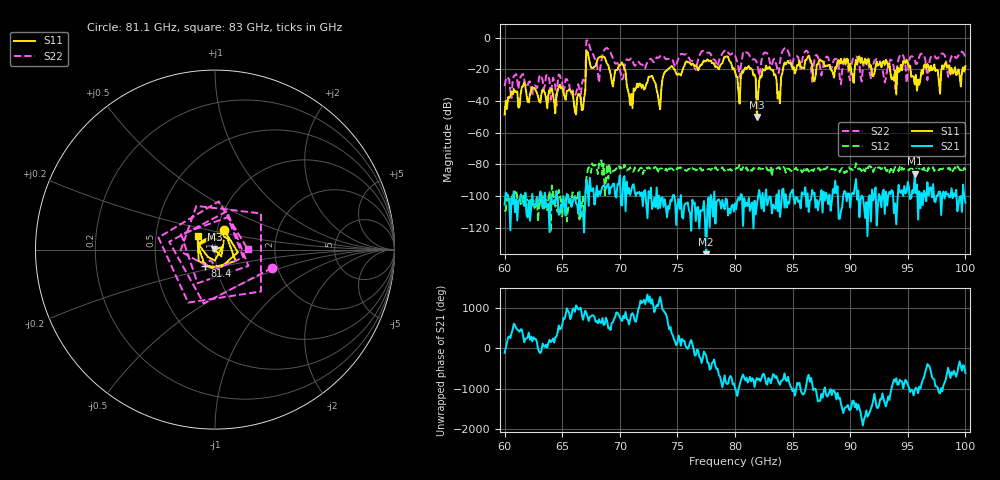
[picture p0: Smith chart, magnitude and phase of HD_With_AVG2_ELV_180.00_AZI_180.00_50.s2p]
! 11/25/2026 10:35:23 AM
! C:\ANRITSUVNA\TEMP\TEMP.S2P
! CHANNEL.1
! TR.MEASUREMENT
! RAW.DATA
# HZ S RI R 50.0
! FREQ.HZ  S11RE  S11IM  S21RE  S21IM  S12RE  S12IM  S22RE  S22IM
!; PortSelection: Port_12
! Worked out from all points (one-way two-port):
!   401 points, 60 GHz to 100 GHz, reference 50 ohm
!   highest |S21| = -85.96 dB at 95.6 GHz (marker M1); lowest = -140.0 dB at 77.5 GHz (marker M2)
!   lowest |S11| = -50.0 dB at 81.9 GHz (marker M3), VSWR 1.01, Z = 49.7 + j0.0957 ohm
!   |S11| at or under -10 dB: start of sweep to 67.09 GHz; 67.24 GHz to end of sweep
!   |S22| runs from -42.9 to -1.7 dB; largest |S21 - S12| = 0.00014
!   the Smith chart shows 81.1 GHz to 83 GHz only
!   S11 on the Smith chart (normalised r, x): 81.1 GHz: 1.08, +0.24; 81.4 GHz: 0.88, -0.17; 83 GHz: 0.81, +0.12
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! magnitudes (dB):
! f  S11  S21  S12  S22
! 60 GHz  -48.6  -105.4  -109.7  -30.5
! 61.6 GHz  -30.6  -104.1  -102.9  -22.8
! 66.7 GHz  -45.7  -112.8  -104.9  -29.5
! 67.3 GHz  -12.1  -106.2  -81.8  -3.2
! 68.4 GHz  -11.8  -96.3  -77.5  -14.7
! 70.3 GHz  -17.5  -89.1  -83.1  -25.5
! 70.9 GHz  -42.6  -99.3  -81.9  -13.5
! 72.7 GHz  -24.4  -94.6  -82.6  -13.3
! 73.4 GHz  -41.0  -99.7  -83.1  -12.6
! 74.3 GHz  -19.2  -108.1  -83.0  -13.4
! 77.5 GHz  -14.6  -140.0  -82.8  -9.0
! 80 GHz  -21.2  -104.6  -83.5  -11.0
! 81.1 GHz  -18.4  -106.4  -84.1  -9.5
! 81.4 GHz  -19.3  -105.8  -83.8  -13.0
! 81.9 GHz  -50.0  -105.7  -82.2  -15.7
! 83 GHz  -18.3  -100.2  -84.0  -14.8
! 83.8 GHz  -34.0  -96.4  -81.7  -22.3
! 84.4 GHz  -16.7  -98.8  -85.2  -6.3
! 86.7 GHz  -17.5  -96.2  -83.4  -27.9
! 93.4 GHz  -16.4  -97.3  -85.2  -15.6
! 95.6 GHz  -29.4  -86.0  -83.5  -13.8
! 100 GHz  -17.9  -104.2  -83.5  -12.1
